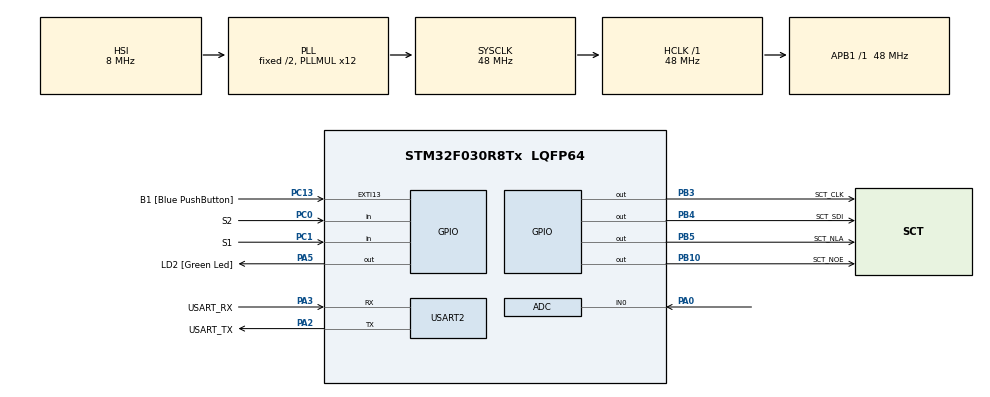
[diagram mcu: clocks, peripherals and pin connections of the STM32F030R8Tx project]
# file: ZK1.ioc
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ADC.Overrun=ADC_OVR_DATA_OVERWRITTEN
ADC.SamplingTime=ADC_SAMPLETIME_239CYCLES_5
Mcu.Family=STM32F0
Mcu.Name=STM32F030R8Tx
Mcu.Package=LQFP64
NVIC.ADC1_IRQn=true\:0\:0\:false\:false\:true\:true\:true\:true
PA0.Mode=IN0
PA0.Signal=ADC_IN0
PA13.GPIO_Label=TMS
PA13.Mode=Serial_Wire
PA13.Signal=SYS_SWDIO
PA14.GPIO_Label=TCK
PA14.Mode=Serial_Wire
PA14.Signal=SYS_SWCLK
PA2.GPIO_Label=USART_TX
PA2.GPIO_Mode=GPIO_MODE_AF_PP
PA2.GPIO_PuPd=GPIO_NOPULL
PA2.GPIO_Speed=GPIO_SPEED_FREQ_LOW
PA2.Mode=Asynchronous
PA2.Signal=USART2_TX
PA3.GPIO_Label=USART_RX
PA3.GPIO_Mode=GPIO_MODE_AF_PP
PA3.GPIO_PuPd=GPIO_NOPULL
PA3.GPIO_Speed=GPIO_SPEED_FREQ_LOW
PA3.Mode=Asynchronous
PA3.Signal=USART2_RX
PA5.GPIO_Label=LD2 [Green Led]
PA5.GPIO_Mode=GPIO_MODE_OUTPUT_PP
PA5.GPIO_PuPd=GPIO_NOPULL
PA5.GPIO_Speed=GPIO_SPEED_FREQ_LOW
PA5.Signal=GPIO_Output
PB10.GPIO_Label=SCT_NOE
PB10.Signal=GPIO_Output
PB3.GPIO_Label=SCT_CLK
PB3.Signal=GPIO_Output
PB4.GPIO_Label=SCT_SDI
PB4.Signal=GPIO_Output
PB5.GPIO_Label=SCT_NLA
PB5.Signal=GPIO_Output
PC0.GPIO_Label=S2
PC0.GPIO_PuPd=GPIO_PULLUP
PC0.Signal=GPIO_Input
PC1.GPIO_Label=S1
PC1.GPIO_PuPd=GPIO_PULLUP
PC1.Signal=GPIO_Input
PC13.GPIO_Label=B1 [Blue PushButton]
PC13.GPIO_ModeDefaultEXTI=GPIO_MODE_IT_FALLING
PC13.Signal=GPXTI13
PC14-OSC32_IN.Mode=LSE-External-Oscillator
PC14-OSC32_IN.Signal=RCC_OSC32_IN
PC15-OSC32_OUT.Mode=LSE-External-Oscillator
PC15-OSC32_OUT.Signal=RCC_OSC32_OUT
PF0-OSC_IN.Mode=HSE-External-Clock-Source
PF0-OSC_IN.Signal=RCC_OSC_IN
PF1-OSC_OUT.Signal=RCC_OSC_OUT
ProjectManager.HeapSize=0x200
ProjectManager.StackSize=0x400
ProjectManager.TargetToolchain=STM32CubeIDE
RCC.AHBFreq_Value=48000000
RCC.APB1Freq_Value=48000000
RCC.APB1TimFreq_Value=48000000
RCC.HCLKFreq_Value=48000000
RCC.PLLMUL=RCC_PLL_MUL12
RCC.SYSCLKFreq_VALUE=48000000
RCC.SYSCLKSource=RCC_SYSCLKSOURCE_PLLCLK
USART2.VirtualMode-Asynchronous=VM_ASYNC
board=NUCLEO-F030R8

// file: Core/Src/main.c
/* USER CODE BEGIN Header */
/**
  ******************************************************************************
  * @file           : main.c
  * @brief          : Main program body
  ******************************************************************************
  * @attention
  *
  * Copyright (c) 2024 STMicroelectronics.
  * All rights reserved.
  *
  * This software is licensed under terms that can be found in the LICENSE file
  * in the root directory of this software component.
  * If no LICENSE file comes with this software, it is provided AS-IS.
  *
  ******************************************************************************
  */
/* USER CODE END Header */
#include "main.h"

/* USER CODE BEGIN Includes */
#include "sct.h"
#include <stdlib.h>
/* USER CODE END Includes */

ADC_HandleTypeDef hadc;

UART_HandleTypeDef huart2;

void SystemClock_Config(void);
static void MX_GPIO_Init(void);
static void MX_USART2_UART_Init(void);
static void MX_ADC_Init(void);

/* USER CODE BEGIN 0 */
void delay_ms(uint32_t ms);
/* USER CODE END 0 */

int main(void)
{

  /* MCU Configuration--------------------------------------------------------*/

  /* Reset of all peripherals, Initializes the Flash interface and the Systick. */
  HAL_Init();

  /* Configure the system clock */
  SystemClock_Config();

  /* Initialize all configured peripherals */
  MX_GPIO_Init();
  MX_USART2_UART_Init();
  MX_ADC_Init();
  /* USER CODE BEGIN 2 */
sct_init();
  /* USER CODE END 2 */

  /* Infinite loop */
  /* USER CODE BEGIN WHILE */
   uint8_t last_S1_state = GPIO_PIN_SET;
   uint8_t last_S2_state = GPIO_PIN_SET;

	while (1) {
		uint8_t current_S1_state = HAL_GPIO_ReadPin(S1_GPIO_Port, S1_Pin);
		uint8_t current_S2_state = HAL_GPIO_ReadPin(S2_GPIO_Port, S2_Pin);

		if (current_S1_state == GPIO_PIN_SET
				&& last_S1_state == GPIO_PIN_RESET) {
			// Simulate rolling the dice
			for (uint8_t i = 0; i < 15; ++i) {
				// Display a random number between 1 and 6
				uint8_t random_number = (rand() % 6) + 1;
				sct_value(random_number);

				HAL_Delay(100); // Adjust delay for the rolling effect
			}
		}

		if (current_S2_state == GPIO_PIN_SET
		    && last_S2_state == GPIO_PIN_RESET) {
			// Generate a random number between 1 and 6
			uint8_t random_number = (rand() % 6) + 1;

			// Display the random number on the 7-segment display
			sct_value(random_number);
		}

		last_S1_state = current_S1_state;
		last_S2_state = current_S2_state;
	}
}
    /* USER CODE END WHILE */

    /* USER CODE BEGIN 3 */
void delay_ms(uint32_t ms)
{
    HAL_Delay(ms);
}

  /* USER CODE END 3 */

void SystemClock_Config(void)
{
  RCC_OscInitTypeDef RCC_OscInitStruct = {0};
  RCC_ClkInitTypeDef RCC_ClkInitStruct = {0};

  /** Initializes the RCC Oscillators according to the specified parameters
  * in the RCC_OscInitTypeDef structure.
  */
  RCC_OscInitStruct.OscillatorType = RCC_OSCILLATORTYPE_HSI|RCC_OSCILLATORTYPE_HSI14;
  RCC_OscInitStruct.HSIState = RCC_HSI_ON;
  RCC_OscInitStruct.HSI14State = RCC_HSI14_ON;
  RCC_OscInitStruct.HSICalibrationValue = RCC_HSICALIBRATION_DEFAULT;
  RCC_OscInitStruct.HSI14CalibrationValue = 16;
  RCC_OscInitStruct.PLL.PLLState = RCC_PLL_ON;
  RCC_OscInitStruct.PLL.PLLSource = RCC_PLLSOURCE_HSI;
  RCC_OscInitStruct.PLL.PLLMUL = RCC_PLL_MUL12;
  RCC_OscInitStruct.PLL.PREDIV = RCC_PREDIV_DIV1;
  if (HAL_RCC_OscConfig(&RCC_OscInitStruct) != HAL_OK)
  {
    Error_Handler();
  }

  /** Initializes the CPU, AHB and APB buses clocks
  */
  RCC_ClkInitStruct.ClockType = RCC_CLOCKTYPE_HCLK|RCC_CLOCKTYPE_SYSCLK
                              |RCC_CLOCKTYPE_PCLK1;
  RCC_ClkInitStruct.SYSCLKSource = RCC_SYSCLKSOURCE_PLLCLK;
  RCC_ClkInitStruct.AHBCLKDivider = RCC_SYSCLK_DIV1;
  RCC_ClkInitStruct.APB1CLKDivider = RCC_HCLK_DIV1;

  if (HAL_RCC_ClockConfig(&RCC_ClkInitStruct, FLASH_LATENCY_1) != HAL_OK)
  {
    Error_Handler();
  }
}

static void MX_ADC_Init(void)
{

  ADC_ChannelConfTypeDef sConfig = {0};

  /** Configure the global features of the ADC (Clock, Resolution, Data Alignment and number of conversion)
  */
  hadc.Instance = ADC1;
  hadc.Init.ClockPrescaler = ADC_CLOCK_ASYNC_DIV1;
  hadc.Init.Resolution = ADC_RESOLUTION_12B;
  hadc.Init.DataAlign = ADC_DATAALIGN_RIGHT;
  hadc.Init.ScanConvMode = ADC_SCAN_DIRECTION_FORWARD;
  hadc.Init.EOCSelection = ADC_EOC_SINGLE_CONV;
  hadc.Init.LowPowerAutoWait = DISABLE;
  hadc.Init.LowPowerAutoPowerOff = DISABLE;
  hadc.Init.ContinuousConvMode = DISABLE;
  hadc.Init.DiscontinuousConvMode = DISABLE;
  hadc.Init.ExternalTrigConv = ADC_SOFTWARE_START;
  hadc.Init.ExternalTrigConvEdge = ADC_EXTERNALTRIGCONVEDGE_NONE;
  hadc.Init.DMAContinuousRequests = DISABLE;
  hadc.Init.Overrun = ADC_OVR_DATA_OVERWRITTEN;
  if (HAL_ADC_Init(&hadc) != HAL_OK)
  {
    Error_Handler();
  }

  /** Configure for the selected ADC regular channel to be converted.
  */
  sConfig.Channel = ADC_CHANNEL_0;
  sConfig.Rank = ADC_RANK_CHANNEL_NUMBER;
  sConfig.SamplingTime = ADC_SAMPLETIME_239CYCLES_5;
  if (HAL_ADC_ConfigChannel(&hadc, &sConfig) != HAL_OK)
  {
    Error_Handler();
  }

}

static void MX_USART2_UART_Init(void)
{

  huart2.Instance = USART2;
  huart2.Init.BaudRate = 38400;
  huart2.Init.WordLength = UART_WORDLENGTH_8B;
  huart2.Init.StopBits = UART_STOPBITS_1;
  huart2.Init.Parity = UART_PARITY_NONE;
  huart2.Init.Mode = UART_MODE_TX_RX;
  huart2.Init.HwFlowCtl = UART_HWCONTROL_NONE;
  huart2.Init.OverSampling = UART_OVERSAMPLING_16;
  huart2.Init.OneBitSampling = UART_ONE_BIT_SAMPLE_DISABLE;
  huart2.AdvancedInit.AdvFeatureInit = UART_ADVFEATURE_NO_INIT;
  if (HAL_UART_Init(&huart2) != HAL_OK)
  {
    Error_Handler();
  }

}

static void MX_GPIO_Init(void)
{
  GPIO_InitTypeDef GPIO_InitStruct = {0};

  /* GPIO Ports Clock Enable */
  __HAL_RCC_GPIOC_CLK_ENABLE();
  __HAL_RCC_GPIOF_CLK_ENABLE();
  __HAL_RCC_GPIOA_CLK_ENABLE();
  __HAL_RCC_GPIOB_CLK_ENABLE();

  /*Configure GPIO pin Output Level */
  HAL_GPIO_WritePin(LD2_GPIO_Port, LD2_Pin, GPIO_PIN_RESET);

  /*Configure GPIO pin Output Level */
  HAL_GPIO_WritePin(GPIOB, SCT_NOE_Pin|SCT_CLK_Pin|SCT_SDI_Pin|SCT_NLA_Pin, GPIO_PIN_RESET);

  /*Configure GPIO pin : B1_Pin */
  GPIO_InitStruct.Pin = B1_Pin;
  GPIO_InitStruct.Mode = GPIO_MODE_IT_FALLING;
  GPIO_InitStruct.Pull = GPIO_NOPULL;
  HAL_GPIO_Init(B1_GPIO_Port, &GPIO_InitStruct);

  /*Configure GPIO pins : S2_Pin S1_Pin */
  GPIO_InitStruct.Pin = S2_Pin|S1_Pin;
  GPIO_InitStruct.Mode = GPIO_MODE_INPUT;
  GPIO_InitStruct.Pull = GPIO_PULLUP;
  HAL_GPIO_Init(GPIOC, &GPIO_InitStruct);

  /*Configure GPIO pin : LD2_Pin */
  GPIO_InitStruct.Pin = LD2_Pin;
  GPIO_InitStruct.Mode = GPIO_MODE_OUTPUT_PP;
  GPIO_InitStruct.Pull = GPIO_NOPULL;
  GPIO_InitStruct.Speed = GPIO_SPEED_FREQ_LOW;
  HAL_GPIO_Init(LD2_GPIO_Port, &GPIO_InitStruct);

  /*Configure GPIO pins : SCT_NOE_Pin SCT_CLK_Pin SCT_SDI_Pin SCT_NLA_Pin */
  GPIO_InitStruct.Pin = SCT_NOE_Pin|SCT_CLK_Pin|SCT_SDI_Pin|SCT_NLA_Pin;
  GPIO_InitStruct.Mode = GPIO_MODE_OUTPUT_PP;
  GPIO_InitStruct.Pull = GPIO_NOPULL;
  GPIO_InitStruct.Speed = GPIO_SPEED_FREQ_LOW;
  HAL_GPIO_Init(GPIOB, &GPIO_InitStruct);

}

void Error_Handler(void)
{
  __disable_irq();
  while (1)
  {
  }
}
